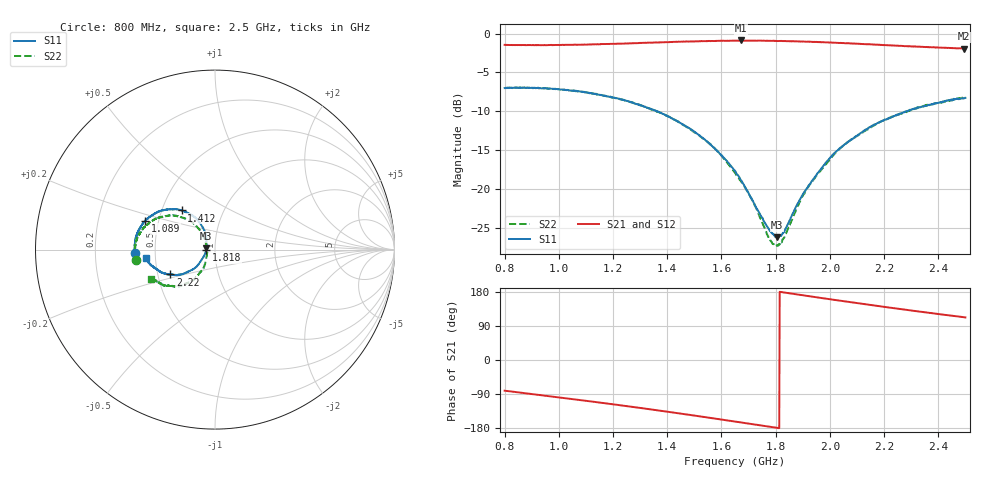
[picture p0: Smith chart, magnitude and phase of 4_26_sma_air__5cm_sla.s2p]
!Keysight Technologies N9950B: A.12.38
!Date: Wednesday, 26 April 2023 20:16:39
!Timezone: (UTC-06:00) Central Time (US & Canada)
!Model: N9950B
!Serial: MY61131330
!GPS Latitude:
!GPS Longitude:
!GPS TimeStamp: 0001-01-01 00:00:00Z
!GPS Seconds Since Last Read: 0
!CHECKSUM:0202876496
!Correction: S11(ON U)S21(ON U)S12(ON U)S22(ON U)
!S2P File: Measurements:S11,S21,S12,S22:
# Hz S DB R 50
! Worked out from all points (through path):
!   1001 points, 800 MHz to 2.5 GHz, reference 50 ohm
!   highest |S21| = -0.89 dB at 1.672 GHz (marker M1); lowest = -1.9 dB at 2.495 GHz (marker M2)
!   group delay of S21, straight-line fit = 280 ps
!   lowest |S11| = -26.3 dB at 1.805 GHz (marker M3), VSWR 1.10, Z = 45.4 + j0.634 ohm
!   |S11| at or under -10 dB: 1.362 GHz to 2.284 GHz (921.5 MHz wide, 50.5 % of centre)
!   |S22| runs from -27.4 to -6.9 dB; largest |S21 - S12| = 0.0052
!   S11 on the Smith chart (normalised r, x): 800 MHz: 0.38, -0.02; 1.089 GHz: 0.42, +0.17; 1.412 GHz: 0.63, +0.30; 1.818 GHz: 0.91, -0.00; 2.22 GHz: 0.58, -0.18; 2.5 GHz: 0.45, -0.05
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8e8  -7.02 -177.8  -1.46 -80.9  -1.47 -81.0  -7.01 -172.7
9.479e8  -7.07 169.6  -1.50 -94.0  -1.50 -94.0  -7.04 175.6
1.0839e9  -7.48 157.9  -1.44 -106.2  -1.43 -106.2  -7.51 165.1
1.089e9  -7.55 157.4  -1.45 -106.8  -1.43 -106.7  -7.53 164.7
1.2233e9  -8.40 146.1  -1.32 -119.1  -1.30 -119.1  -8.45 153.9
1.3678e9  -10.09 134.0  -1.16 -133.2  -1.15 -133.3  -10.12 142.3
1.412e9  -10.84 130.5  -1.10 -137.6  -1.10 -137.7  -10.82 138.8
1.5582e9  -14.28 120.6  -0.98 -152.7  -0.97 -152.7  -14.29 129.7
1.65e9  -17.69 119.1  -0.92 -162.4  -0.93 -162.5  -17.90 127.6
1.6721e9  -18.91 119.7  -0.89 -164.8  -0.92 -164.8  -18.99 128.1
1.7231e9  -22.06 127.6  -0.92 -170.3  -0.94 -170.2  -22.18 135.9
1.7758e9  -25.26 150.8  -0.94 -175.9  -0.95 -175.9  -26.39 161.4
1.8047e9  -26.27 171.8  -0.97 -179.1  -0.96 -179.0  -27.34 -174.7
1.8183e9  -26.08 -177.5  -0.95 179.6  -0.96 179.5  -27.11 -163.3
1.8948e9  -21.06 -144.0  -1.03 171.5  -1.03 171.3  -21.35 -127.9
1.9339e9  -18.98 -139.6  -1.06 167.2  -1.07 167.2  -19.08 -122.6
2.0495e9  -14.43 -140.3  -1.23 155.3  -1.24 155.2  -14.43 -124.2
2.2178e9  -10.92 -150.9  -1.52 138.7  -1.52 138.5  -10.88 -134.8
2.2195e9  -10.90 -150.9  -1.51 138.2  -1.52 138.3  -10.84 -134.2
2.3776e9  -9.08 -163.1  -1.77 123.4  -1.80 123.3  -9.09 -146.2
2.4949e9  -8.33 -172.4  -1.94 112.8  -1.93 112.8  -8.29 -155.4
2.5e9  -8.30 -172.7  -1.94 112.4  -1.96 112.4  -8.15 -155.7
